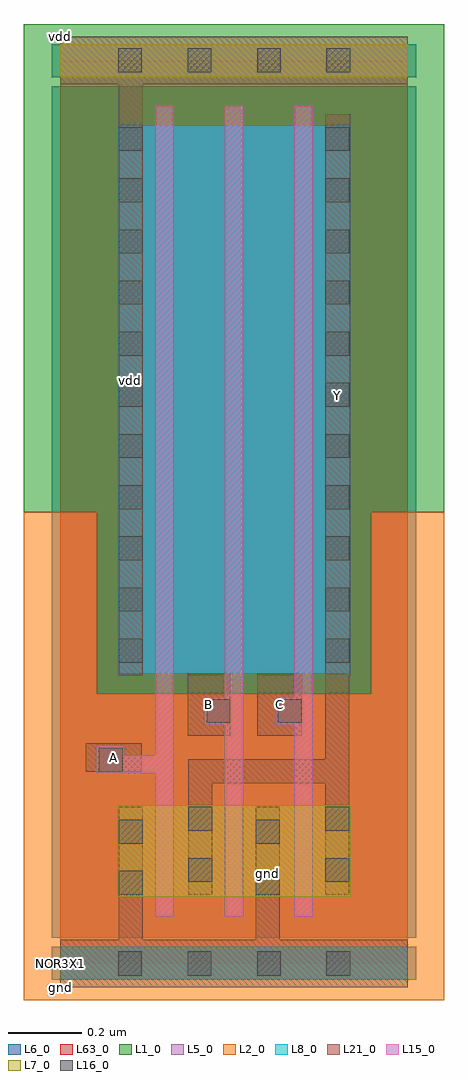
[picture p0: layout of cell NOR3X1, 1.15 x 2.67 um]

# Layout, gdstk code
import gdstk
lib = gdstk.Library(unit=1e-6, precision=1e-09)
def R(c, l, rs):  # rectangles x0, y0, x1, y1
    for r in rs: c.add(gdstk.rectangle(r[:2], r[2:], *l))
def A(c, l, x, y, w, h, nx, ny, dx, dy):  # array of equal rectangles
    R(c, l, [(x+i*dx, y+j*dy, x+i*dx+w, y+j*dy+h) for i in range(nx) for j in range(ny)])
def P(c, l, *ps):  # polygons
    for p in ps: c.add(gdstk.Polygon(p, *l))
L1_0 = (1, 0)
L2_0 = (2, 0)
L5_0 = (5, 0)
L6_0 = (6, 0)
L7_0 = (7, 0)
L8_0 = (8, 0)
L15_0 = (15, 0)
L16_0 = (16, 0)
L21_0 = (21, 0)
L63_0 = (63, 0)

nor3x1 = lib.new_cell('NOR3X1')
P(nor3x1, L1_0, [(1.05,1.235),(0.85,1.235),(0.85,0.738),(0.1,0.738),(0.1,1.235),(-0.1,1.235),(-0.1,2.57),(1.05,2.57)])
P(nor3x1, L2_0, [(-0.1,1.235),(0.1,1.235),(0.1,0.738),(0.85,0.738),(0.85,1.235),(1.05,1.235),(1.05,-0.1),(-0.1,-0.1)])
A(nor3x1, L5_0, 0.26, 0.183, 0.05, 0.25, 3, 1, 0.19, 0)
A(nor3x1, L5_0, 0.26, 0.793, 0.05, 1.5, 3, 1, 0.19, 0)
R(nor3x1, L5_0, [(0,-0.045,0.95,0.045), (0.155,0.183,0.26,0.433), (0.31,0.183,0.45,0.433), (0.5,0.183,0.64,0.433), (0.69,0.183,0.795,0.433), (0.155,0.793,0.26,2.293), (0.31,0.793,0.45,2.293), (0.5,0.793,0.64,2.293), (0.69,0.793,0.795,2.293), (0,2.425,0.95,2.515)])
R(nor3x1, L6_0, [(-0.023,-0.045,0.973,0.045), (-0.023,-0.045,0.973,0.045), (-0.023,2.425,0.973,2.515), (-0.023,2.425,0.973,2.515)])
P(nor3x1, L6_0, [(0.1,1.235),(0.1,0.738),(0.85,0.738),(0.85,1.235),(0.973,1.235),(0.973,0.07),(-0.023,0.07),(-0.023,1.235)],
  [(-0.023,1.235),(-0.023,2.4),(0.973,2.4),(0.973,1.235),(0.85,1.235),(0.85,0.738),(0.1,0.738),(0.1,1.235)])
A(nor3x1, L7_0, 0.26, 0.183, 0.05, 0.25, 3, 1, 0.19, 0)
R(nor3x1, L7_0, [(0.155,0.183,0.26,0.433), (0.31,0.183,0.45,0.433), (0.5,0.183,0.64,0.433), (0.69,0.183,0.795,0.433), (0,2.425,0.95,2.515)])
A(nor3x1, L8_0, 0.26, 0.793, 0.05, 1.5, 3, 1, 0.19, 0)
R(nor3x1, L8_0, [(0,-0.045,0.95,0.045), (0.155,0.793,0.26,2.293), (0.31,0.793,0.45,2.293), (0.5,0.793,0.64,2.293), (0.69,0.793,0.795,2.293)])
A(nor3x1, L15_0, 0.26, 0.128, 0.05, 0.055, 3, 2, 0.19, 2.165)
A(nor3x1, L15_0, 0.26, 0.183, 0.05, 0.25, 3, 1, 0.19, 0)
A(nor3x1, L15_0, 0.26, 0.793, 0.05, 1.5, 3, 1, 0.19, 0)
P(nor3x1, L15_0, [(0.26,0.52),(0.1,0.52),(0.1,0.595),(0.175,0.595),(0.175,0.57),(0.26,0.57),(0.26,0.793),(0.31,0.793),(0.31,0.433),(0.26,0.433)],
  [(0.45,0.653),(0.395,0.653),(0.395,0.728),(0.45,0.728),(0.45,0.793),(0.5,0.793),(0.5,0.433),(0.45,0.433)],
  [(0.64,0.653),(0.59,0.653),(0.59,0.728),(0.64,0.728),(0.64,0.793),(0.69,0.793),(0.69,0.433),(0.64,0.433)])
A(nor3x1, L16_0, 0.158, -0.033, 0.065, 0.066, 4, 1, 0.19, 0)
A(nor3x1, L16_0, 0.16, 0.823, 0.065, 0.065, 1, 8, 0, 0.14)
A(nor3x1, L16_0, 0.725, 0.823, 0.065, 0.065, 1, 8, 0, 0.14)
A(nor3x1, L16_0, 0.158, 2.438, 0.065, 0.065, 4, 1, 0.19, 0)
R(nor3x1, L16_0, [(0.16,0.188,0.225,0.253), (0.535,0.188,0.6,0.253), (0.35,0.223,0.415,0.288), (0.725,0.223,0.79,0.288), (0.16,0.328,0.225,0.393), (0.535,0.328,0.6,0.393), (0.35,0.363,0.415,0.428), (0.725,0.363,0.79,0.428), (0.105,0.525,0.17,0.59), (0.4,0.658,0.465,0.723), (0.595,0.658,0.66,0.723), (0.16,1.943,0.225,2.007), (0.725,1.943,0.79,2.007), (0.16,2.083,0.225,2.148), (0.725,2.083,0.79,2.148), (0.16,2.223,0.225,2.288), (0.725,2.223,0.79,2.288)])
R(nor3x1, L21_0, [(0.07,0.525,0.223,0.603), (0.348,0.623,0.465,0.793), (0.538,0.623,0.66,0.793)])
P(nor3x1, L21_0, [(0,2.405),(0,2.535),(0.95,2.535),(0.95,2.405),(0.225,2.405),(0.225,0.788),(0.16,0.788),(0.16,2.405)],
  [(0,-0.065),(0,0.065),(0.16,0.065),(0.16,0.428),(0.225,0.428),(0.225,0.065),(0.535,0.065),(0.535,0.428),(0.6,0.428),(0.6,0.065),(0.95,0.065),(0.95,-0.065)],
  [(0.725,2.323),(0.793,2.323),(0.793,0.788),(0.79,0.788),(0.79,0.188),(0.725,0.188),(0.725,0.493),(0.415,0.493),(0.415,0.188),(0.35,0.188),(0.35,0.558),(0.725,0.558)])
R(nor3x1, L63_0, [(0,0,0.95,2.47)])
nor3x1.add(gdstk.Label('vdd', (0.193,1.596), layer=21, texttype=1))
nor3x1.add(gdstk.Label('gnd', (0.568,0.246), layer=21, texttype=1))
nor3x1.add(gdstk.Label('Y', (0.758,1.555), layer=21, texttype=1))
nor3x1.add(gdstk.Label('A', (0.146,0.564), layer=21, texttype=1))
nor3x1.add(gdstk.Label('B', (0.406,0.708), layer=21, texttype=1))
nor3x1.add(gdstk.Label('C', (0.599,0.708), layer=21, texttype=1))
nor3x1.add(gdstk.Label('vdd', (0,2.535), layer=21, texttype=2))
nor3x1.add(gdstk.Label('gnd', (0,-0.065), layer=21, texttype=2))
nor3x1.add(gdstk.Label('NOR3X1', (0,0), layer=63, texttype=1))

lib.write_gds('NOR3X1.gds')
